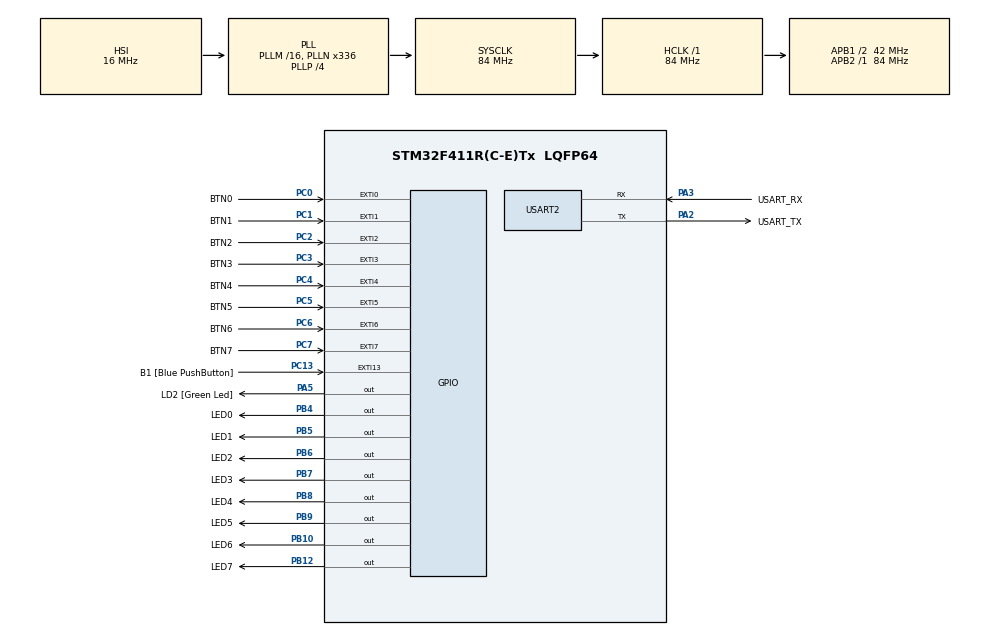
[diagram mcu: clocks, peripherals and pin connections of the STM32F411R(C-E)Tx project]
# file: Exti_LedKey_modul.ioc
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Mcu.Family=STM32F4
Mcu.Name=STM32F411R(C-E)Tx
Mcu.Package=LQFP64
NVIC.EXTI0_IRQn=true\:0\:0\:false\:false\:true\:true\:true\:true
NVIC.EXTI15_10_IRQn=true\:0\:0\:false\:false\:true\:true\:true\:true
NVIC.EXTI1_IRQn=true\:0\:0\:false\:false\:true\:true\:true\:true
NVIC.EXTI2_IRQn=true\:0\:0\:false\:false\:true\:true\:true\:true
NVIC.EXTI3_IRQn=true\:0\:0\:false\:false\:true\:true\:true\:true
NVIC.EXTI4_IRQn=true\:0\:0\:false\:false\:true\:true\:true\:true
NVIC.EXTI9_5_IRQn=true\:0\:0\:false\:false\:true\:true\:true\:true
NVIC.PriorityGroup=NVIC_PRIORITYGROUP_0
PA13.GPIO_Label=TMS
PA13.Mode=Serial_Wire
PA13.Signal=SYS_JTMS-SWDIO
PA14.GPIO_Label=TCK
PA14.Mode=Serial_Wire
PA14.Signal=SYS_JTCK-SWCLK
PA2.GPIO_Label=USART_TX
PA2.Mode=Asynchronous
PA2.Signal=USART2_TX
PA3.GPIO_Label=USART_RX
PA3.Mode=Asynchronous
PA3.Signal=USART2_RX
PA5.GPIO_Label=LD2 [Green Led]
PA5.Signal=GPIO_Output
PB10.GPIO_Label=LED6
PB10.Signal=GPIO_Output
PB12.GPIO_Label=LED7
PB12.Signal=GPIO_Output
PB3.GPIO_Label=SWO
PB3.Signal=SYS_JTDO-SWO
PB4.GPIO_Label=LED0
PB4.Signal=GPIO_Output
PB5.GPIO_Label=LED1
PB5.Signal=GPIO_Output
PB6.GPIO_Label=LED2
PB6.Signal=GPIO_Output
PB7.GPIO_Label=LED3
PB7.Signal=GPIO_Output
PB8.GPIO_Label=LED4
PB8.Signal=GPIO_Output
PB9.GPIO_Label=LED5
PB9.Signal=GPIO_Output
PC0.GPIO_Label=BTN0
PC0.Signal=GPXTI0
PC1.GPIO_Label=BTN1
PC1.Signal=GPXTI1
PC13-ANTI_TAMP.GPIO_Label=B1 [Blue PushButton]
PC13-ANTI_TAMP.GPIO_ModeDefaultEXTI=GPIO_MODE_IT_FALLING
PC13-ANTI_TAMP.Signal=GPXTI13
PC14-OSC32_IN.Mode=LSE-External-Oscillator
PC14-OSC32_IN.Signal=RCC_OSC32_IN
PC15-OSC32_OUT.Mode=LSE-External-Oscillator
PC15-OSC32_OUT.Signal=RCC_OSC32_OUT
PC2.GPIO_Label=BTN2
PC2.Signal=GPXTI2
PC3.GPIO_Label=BTN3
PC3.Signal=GPXTI3
PC4.GPIO_Label=BTN4
PC4.Signal=GPXTI4
PC5.GPIO_Label=BTN5
PC5.Signal=GPXTI5
PC6.GPIO_Label=BTN6
PC6.Signal=GPXTI6
PC7.GPIO_Label=BTN7
PC7.Signal=GPXTI7
PH0\ -\ OSC_IN.Mode=HSE-External-Clock-Source
PH0\ -\ OSC_IN.Signal=RCC_OSC_IN
PH1\ -\ OSC_OUT.Mode=HSE-External-Clock-Source
PH1\ -\ OSC_OUT.Signal=RCC_OSC_OUT
ProjectManager.HeapSize=0x200
ProjectManager.StackSize=0x400
ProjectManager.TargetToolchain=STM32CubeIDE
RCC.48MHZClocksFreq_Value=84000000
RCC.AHBFreq_Value=84000000
RCC.APB1CLKDivider=RCC_HCLK_DIV2
RCC.APB1Freq_Value=42000000
RCC.APB1TimFreq_Value=84000000
RCC.APB2Freq_Value=84000000
RCC.APB2TimFreq_Value=84000000
RCC.CortexFreq_Value=84000000
RCC.FLatency-AdvancedSettings=FLASH_LATENCY_2
RCC.HCLKFreq_Value=84000000
RCC.HSE_VALUE=8000000
RCC.HSI_VALUE=16000000
RCC.PLLN=336
RCC.PLLP=RCC_PLLP_DIV4
RCC.SYSCLKFreq_VALUE=84000000
RCC.SYSCLKSource=RCC_SYSCLKSOURCE_PLLCLK
RCC.VCOOutputFreq_Value=336000000
USART2.VirtualMode=VM_ASYNC
board=NUCLEO-F411RE

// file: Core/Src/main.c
/* USER CODE BEGIN Header */
/**
  ******************************************************************************
  * @file           : main.c
  * @brief          : Main program body
  ******************************************************************************
  * @attention
  *
  * Copyright (c) 2025 STMicroelectronics.
  * All rights reserved.
  *
  * This software is licensed under terms that can be found in the LICENSE file
  * in the root directory of this software component.
  * If no LICENSE file comes with this software, it is provided AS-IS.
  *
  ******************************************************************************
  */
/* USER CODE END Header */
#include "main.h"

/* USER CODE BEGIN Includes */
#include <stdio.h>
/* USER CODE END Includes */

/* USER CODE BEGIN PD */
#define LOW 0
#define HIGH 1

#ifdef __GNUC__
/* With GCC, small printf (option LD Linker->Libraries->Small printf
   set to 'Yes') calls __io_putchar() */
#define PUTCHAR_PROTOTYPE int __io_putchar(int ch)
#else
#define PUTCHAR_PROTOTYPE int fputc(int ch, FILE *f)
#endif /* __GNUC__ */
/* USER CODE END PD */

UART_HandleTypeDef huart2;

/* USER CODE BEGIN PV */
volatile int KeyNo;
/* USER CODE END PV */

void SystemClock_Config(void);
static void MX_GPIO_Init(void);
static void MX_USART2_UART_Init(void);
/* USER CODE BEGIN PFP */
int getKeyNum();
/* USER CODE END PFP */

int main(void)
{

  /* USER CODE BEGIN 1 */
	int KeyNum;
	int cnt=0;
  /* USER CODE END 1 */

  /* MCU Configuration--------------------------------------------------------*/

  /* Reset of all peripherals, Initializes the Flash interface and the Systick. */
  HAL_Init();

  /* Configure the system clock */
  SystemClock_Config();

  /* Initialize all configured peripherals */
  MX_GPIO_Init();
  MX_USART2_UART_Init();
  /* USER CODE BEGIN 2 */
  printf("Main Start!\r\n");
  /* USER CODE END 2 */

  /* Infinite loop */
  /* USER CODE BEGIN WHILE */
  while (1)
  {
	  KeyNum=getKeyNum();
	  if(KeyNum !=0)
	  {
		  printf("KeyNum : %d, cnt : %d\r\n",KeyNum,cnt++);
		  HAL_GPIO_TogglePin(GPIOB,0x10 << (KeyNum-1));
	  }
    /* USER CODE END WHILE */

  }
}

void SystemClock_Config(void)
{
  RCC_OscInitTypeDef RCC_OscInitStruct = {0};
  RCC_ClkInitTypeDef RCC_ClkInitStruct = {0};

  /** Configure the main internal regulator output voltage
  */
  __HAL_RCC_PWR_CLK_ENABLE();
  __HAL_PWR_VOLTAGESCALING_CONFIG(PWR_REGULATOR_VOLTAGE_SCALE1);

  /** Initializes the RCC Oscillators according to the specified parameters
  * in the RCC_OscInitTypeDef structure.
  */
  RCC_OscInitStruct.OscillatorType = RCC_OSCILLATORTYPE_HSI;
  RCC_OscInitStruct.HSIState = RCC_HSI_ON;
  RCC_OscInitStruct.HSICalibrationValue = RCC_HSICALIBRATION_DEFAULT;
  RCC_OscInitStruct.PLL.PLLState = RCC_PLL_ON;
  RCC_OscInitStruct.PLL.PLLSource = RCC_PLLSOURCE_HSI;
  RCC_OscInitStruct.PLL.PLLM = 16;
  RCC_OscInitStruct.PLL.PLLN = 336;
  RCC_OscInitStruct.PLL.PLLP = RCC_PLLP_DIV4;
  RCC_OscInitStruct.PLL.PLLQ = 4;
  if (HAL_RCC_OscConfig(&RCC_OscInitStruct) != HAL_OK)
  {
    Error_Handler();
  }

  /** Initializes the CPU, AHB and APB buses clocks
  */
  RCC_ClkInitStruct.ClockType = RCC_CLOCKTYPE_HCLK|RCC_CLOCKTYPE_SYSCLK
                              |RCC_CLOCKTYPE_PCLK1|RCC_CLOCKTYPE_PCLK2;
  RCC_ClkInitStruct.SYSCLKSource = RCC_SYSCLKSOURCE_PLLCLK;
  RCC_ClkInitStruct.AHBCLKDivider = RCC_SYSCLK_DIV1;
  RCC_ClkInitStruct.APB1CLKDivider = RCC_HCLK_DIV2;
  RCC_ClkInitStruct.APB2CLKDivider = RCC_HCLK_DIV1;

  if (HAL_RCC_ClockConfig(&RCC_ClkInitStruct, FLASH_LATENCY_2) != HAL_OK)
  {
    Error_Handler();
  }
}

static void MX_USART2_UART_Init(void)
{

  huart2.Instance = USART2;
  huart2.Init.BaudRate = 115200;
  huart2.Init.WordLength = UART_WORDLENGTH_8B;
  huart2.Init.StopBits = UART_STOPBITS_1;
  huart2.Init.Parity = UART_PARITY_NONE;
  huart2.Init.Mode = UART_MODE_TX_RX;
  huart2.Init.HwFlowCtl = UART_HWCONTROL_NONE;
  huart2.Init.OverSampling = UART_OVERSAMPLING_16;
  if (HAL_UART_Init(&huart2) != HAL_OK)
  {
    Error_Handler();
  }

}

static void MX_GPIO_Init(void)
{
  GPIO_InitTypeDef GPIO_InitStruct = {0};

  /* GPIO Ports Clock Enable */
  __HAL_RCC_GPIOC_CLK_ENABLE();
  __HAL_RCC_GPIOH_CLK_ENABLE();
  __HAL_RCC_GPIOA_CLK_ENABLE();
  __HAL_RCC_GPIOB_CLK_ENABLE();

  /*Configure GPIO pin Output Level */
  HAL_GPIO_WritePin(LD2_GPIO_Port, LD2_Pin, GPIO_PIN_RESET);

  /*Configure GPIO pin Output Level */
  HAL_GPIO_WritePin(GPIOB, LED6_Pin|LED7_Pin|LED0_Pin|LED1_Pin
                          |LED2_Pin|LED3_Pin|LED4_Pin|LED5_Pin, GPIO_PIN_RESET);

  /*Configure GPIO pin : B1_Pin */
  GPIO_InitStruct.Pin = B1_Pin;
  GPIO_InitStruct.Mode = GPIO_MODE_IT_FALLING;
  GPIO_InitStruct.Pull = GPIO_NOPULL;
  HAL_GPIO_Init(B1_GPIO_Port, &GPIO_InitStruct);

  /*Configure GPIO pins : BTN0_Pin BTN1_Pin BTN2_Pin BTN3_Pin
                           BTN4_Pin BTN5_Pin BTN6_Pin BTN7_Pin */
  GPIO_InitStruct.Pin = BTN0_Pin|BTN1_Pin|BTN2_Pin|BTN3_Pin
                          |BTN4_Pin|BTN5_Pin|BTN6_Pin|BTN7_Pin;
  GPIO_InitStruct.Mode = GPIO_MODE_IT_RISING;
  GPIO_InitStruct.Pull = GPIO_NOPULL;
  HAL_GPIO_Init(GPIOC, &GPIO_InitStruct);

  /*Configure GPIO pin : LD2_Pin */
  GPIO_InitStruct.Pin = LD2_Pin;
  GPIO_InitStruct.Mode = GPIO_MODE_OUTPUT_PP;
  GPIO_InitStruct.Pull = GPIO_NOPULL;
  GPIO_InitStruct.Speed = GPIO_SPEED_FREQ_LOW;
  HAL_GPIO_Init(LD2_GPIO_Port, &GPIO_InitStruct);

  /*Configure GPIO pins : LED6_Pin LED7_Pin LED0_Pin LED1_Pin
                           LED2_Pin LED3_Pin LED4_Pin LED5_Pin */
  GPIO_InitStruct.Pin = LED6_Pin|LED7_Pin|LED0_Pin|LED1_Pin
                          |LED2_Pin|LED3_Pin|LED4_Pin|LED5_Pin;
  GPIO_InitStruct.Mode = GPIO_MODE_OUTPUT_PP;
  GPIO_InitStruct.Pull = GPIO_NOPULL;
  GPIO_InitStruct.Speed = GPIO_SPEED_FREQ_LOW;
  HAL_GPIO_Init(GPIOB, &GPIO_InitStruct);

  /* EXTI interrupt init*/
  HAL_NVIC_SetPriority(EXTI0_IRQn, 0, 0);
  HAL_NVIC_EnableIRQ(EXTI0_IRQn);

  HAL_NVIC_SetPriority(EXTI1_IRQn, 0, 0);
  HAL_NVIC_EnableIRQ(EXTI1_IRQn);

  HAL_NVIC_SetPriority(EXTI2_IRQn, 0, 0);
  HAL_NVIC_EnableIRQ(EXTI2_IRQn);

  HAL_NVIC_SetPriority(EXTI3_IRQn, 0, 0);
  HAL_NVIC_EnableIRQ(EXTI3_IRQn);

  HAL_NVIC_SetPriority(EXTI4_IRQn, 0, 0);
  HAL_NVIC_EnableIRQ(EXTI4_IRQn);

  HAL_NVIC_SetPriority(EXTI9_5_IRQn, 0, 0);
  HAL_NVIC_EnableIRQ(EXTI9_5_IRQn);

  HAL_NVIC_SetPriority(EXTI15_10_IRQn, 0, 0);
  HAL_NVIC_EnableIRQ(EXTI15_10_IRQn);

}

/* USER CODE BEGIN 4 */
int getKeyNum()
{
	int KeyNumber=0;
	int buttonState=0;
	static int KeyNumberOld=0;
	for(int i=0;i<7;i++)
	     {
	    	 buttonState = HAL_GPIO_ReadPin(GPIOC,BTN0_Pin<<i);
	    	 if(buttonState)
	    	 {
	    		 KeyNumber = i+1;
	    		 if(KeyNumber != KeyNumberOld)
	    		 {
	    			 KeyNumberOld=KeyNumber;
	    			 return KeyNumber;
	    		 }
	    		 else
	    		 {
	    			 return 0;
	    		 }
	    	 }
	     }
	return KeyNumber;
}
/**
  * @brief  Retargets the C library printf function to the USART.
  * @param  None
  * @retval None
  */
PUTCHAR_PROTOTYPE
{
  /* Place your implementation of fputc here */
  /* e.g. write a character to the USART6 and Loop until the end of transmission */
  HAL_UART_Transmit(&huart2, (uint8_t *)&ch, 1, 0xFFFF);

  return ch;
}
void HAL_GPIO_EXTI_Callback(uint16_t GPIO_PIN)
{
	switch(GPIO_PIN)
	{
	case BTN0_Pin:
		KeyNo=1;
		//HAL_GPIO_TogglePin(GPIOB,LED0_Pin);
		break;
	case BTN1_Pin:
		KeyNo=2;
		//HAL_GPIO_TogglePin(GPIOB,LED1_Pin);
		break;
	case BTN2_Pin:
		KeyNo=3;
		//HAL_GPIO_TogglePin(GPIOB,LED2_Pin);
		break;
	case BTN3_Pin:
		KeyNo=4;
		//HAL_GPIO_TogglePin(GPIOB,LED3_Pin);
		break;
	case BTN4_Pin:
		KeyNo=5;
		//HAL_GPIO_TogglePin(GPIOB,LED4_Pin);
		break;
	case BTN5_Pin:
		KeyNo=6;
		//HAL_GPIO_TogglePin(GPIOB,LED5_Pin);
		break;
	case BTN6_Pin:
		KeyNo=7;
		//HAL_GPIO_TogglePin(GPIOB,LED6_Pin);
		break;
	case BTN7_Pin:
		KeyNo=8;
		//HAL_GPIO_TogglePin(GPIOB,LED7_Pin);
		break;
	case B1_Pin:
		KeyNo=9;
		//HAL_GPIO_TogglePin(GPIOA,LD2_Pin);
		break;
	}
}
/* USER CODE END 4 */

void Error_Handler(void)
{
  __disable_irq();
  while (1)
  {
  }
}
